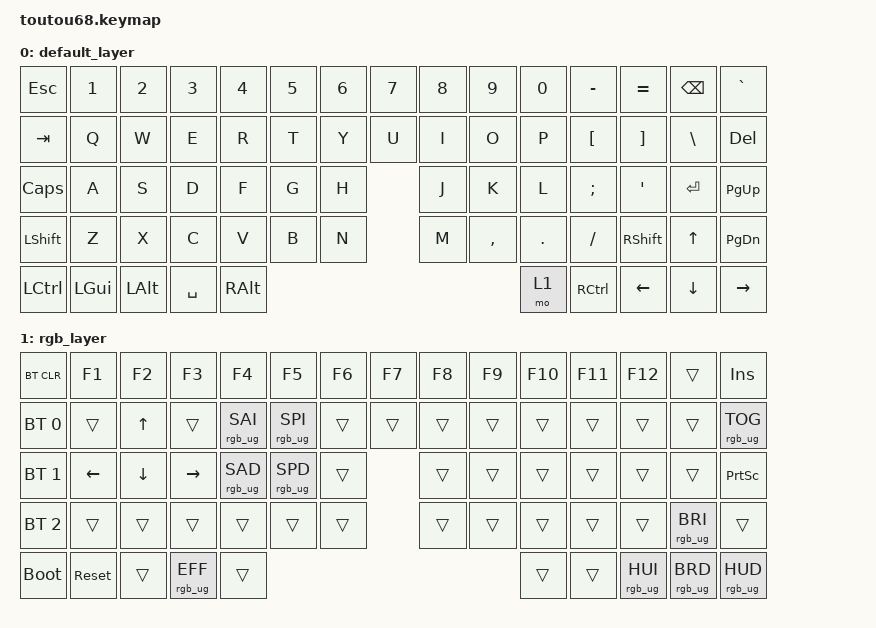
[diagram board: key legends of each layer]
/*
 * Copyright (c) 2021 Nick Winans
 *
 * SPDX-License-Identifier: MIT
 */

#include <behaviors.dtsi>
#include <dt-bindings/zmk/keys.h>
#include <dt-bindings/zmk/rgb.h>
#include <dt-bindings/zmk/bt.h>

/*
added toutou below 
*/

/*
#include <dt-bindings/zmk/ext_power.h>
#include <dt-bindings/zmk/outputs.h>
*/


/{
    keymap {
        compatible = "zmk,keymap";

        default_layer {

            // -----------------------------------------------------------------------------------------------------
            // | ESC |  1  |  2  |  3  |  4  |  5  |  6  |  7  |  8  |  9  |  0  |  -  |  =  |   BKSP      |  `~   |
            // | TAB  |  Q  |  W  |  E  |  R  |  T  |  Y  |  U  |  I  |  O  |  P  |  [   |  ]   |   \      | DEL   |
            // | CAPS  |  A  |  S  |  D  |  F  |  G  |  H  |  J  |  K  |  L  |  ;  |  '  |        ENTER    | PGUP  |
            // |  SHIFT  |  Z  |  X  |  C  |  V  |  B  |  N  |  M  |  ,  |  .  |  /   |     SHIFT    | UP  | PGDN  |
            // |  CTL  |  WIN  |  ALT  |               SPACE             | ALT |  MO(1) | CTL| LEFT | DOWN | RIGHT |
            // ----------------------------------------------------------------------------------------------------

            bindings = <
            
            &kp ESC    &kp N1   &kp N2  &kp N3 &kp N4 &kp N5 &kp N6 &kp N7 &kp N8    &kp N9   &kp N0    &kp MINUS  &kp EQUAL  &kp BSPC  &kp GRAVE
            &kp TAB    &kp Q    &kp W   &kp E  &kp R  &kp T  &kp Y  &kp U  &kp I     &kp O    &kp P     &kp LBKT   &kp RBKT   &kp BSLH  &kp DEL
            &kp CLCK   &kp A    &kp S   &kp D  &kp F  &kp G  &kp H  &kp J  &kp K     &kp L    &kp SEMI  &kp SQT          &kp RET        &kp PG_UP
            &kp LSHFT  &kp Z    &kp X   &kp C  &kp V  &kp B  &kp N  &kp M  &kp COMMA &kp DOT  &kp FSLH  &kp RSHFT              &kp UP   &kp PG_DN
            &kp LCTRL  &kp LGUI &kp LALT              &kp SPACE                      &kp RALT &mo 1     &kp RCTRL  &kp LEFT    &kp DOWN &kp RIGHT
            >;

        };

        rgb_layer {
            // --------------------------------------------------------------------------------------------------
            // |BT_CLR| F1  | F2  | F3  | F4  | F5  | F6  | F7  | F8  | F9  | F10 | F11 | F12 |  BL_TOG  |RGB_TOG|
            // | TAB  |  Q  |  W  |  E  | HUI | HUD |  Y  |  U  |  I  |  O  |  P  | SLCK|  --  |  RESET  | PSCRN |
            // | CAPS  |  A  |  S  |  D  | BRI | BRD |  H  |  J  |  K  |  L  |  ;  |  '  |     BOOT      | P_BRK |
            // |  SHIFT   |VOLDN|VOLUP| MUTE|BLINC|BLDEC|  N  |  M  |  ,  |  .  |  /  |    SHIFT  | HOME |  END  |
            // | BT_PRV| BT_NXT|  ALT  |            SPACE               | ALT |  1  | CTRL | LEFT | DOWN |BT_CLR |
            // --------------------------------------------------------------------------------------------------
            bindings = <

        &bt BT_CLR    &kp F1       &kp F2    &kp F3    &kp F4           &kp F5           &kp F6   &kp F7   &kp F8   &kp F9  &kp F10  &kp F11  &kp F12  &trans            &kp INS
        &bt BT_SEL 0  &trans       &kp UP    &trans    &rgb_ug RGB_SAI  &rgb_ug RGB_SPI  &trans   &trans   &trans   &trans  &trans   &trans   &trans   &trans            &rgb_ug RGB_TOG
        &bt BT_SEL 1  &kp LEFT     &kp DOWN  &kp RIGHT &rgb_ug RGB_SAD  &rgb_ug RGB_SPD  &trans   &trans   &trans   &trans  &trans   &trans   &trans                     &kp PSCRN
        &bt BT_SEL 2  &trans       &trans    &trans    &trans           &trans           &trans   &trans   &trans   &trans  &trans   &trans            &rgb_ug RGB_BRI   &trans
        &bootloader   &sys_reset   &trans                               &rgb_ug RGB_EFF                    &trans   &trans  &trans   &rgb_ug RGB_HUI   &rgb_ug RGB_BRD   &rgb_ug RGB_HUD
            >;
        };
    };
}; 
